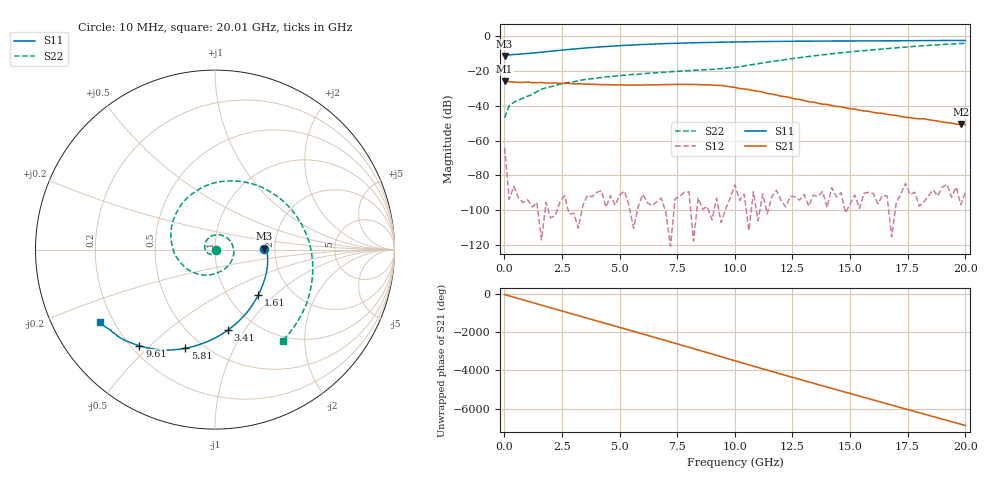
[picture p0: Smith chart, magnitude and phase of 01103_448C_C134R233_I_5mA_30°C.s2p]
!;Filter: kein Filter
!auto
!3/21/2019 9:27:39 AM
!3/21/2019 9:27:53 AM
!SP-Measurements Prober G4
!SP-Measurements Prober G4
!01103_448C
!134
!233
!12
!30
!-20
!0.00499992
!1.96
!0.64375220
!0.64375220
# Hz S  RI  R 50
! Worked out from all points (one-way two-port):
!   101 points, 10 MHz to 20.01 GHz, reference 50 ohm
!   highest |S21| = -25.75 dB at 10 MHz (marker M1); lowest = -50.7 dB at 19.81 GHz (marker M2)
!   lowest |S11| = -11.2 dB at 10 MHz (marker M3), VSWR 1.76, Z = 87.8 + j1.13 ohm
!   |S11| at or under -10 dB: start of sweep to 872.5 MHz
!   |S22| runs from -46.8 to -4.0 dB; largest |S21 - S12| = 0.052
!   S11 on the Smith chart (normalised r, x): 10 MHz: 1.76, +0.02; 1.61 GHz: 1.37, -0.79; 3.41 GHz: 0.74, -0.84; 5.81 GHz: 0.40, -0.66; 9.61 GHz: 0.23, -0.46; 20.01 GHz: 0.15, -0.28
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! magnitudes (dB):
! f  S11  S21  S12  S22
! 10 MHz  -11.2  -25.8  -64.2  -46.8
! 210 MHz  -10.7  -26.1  -93.7  -40.0
! 410 MHz  -10.5  -26.2  -86.3  -37.9
! 1.01 GHz  -9.9  -26.2  -94.0  -34.4
! 1.21 GHz  -9.6  -26.7  -98.1  -33.4
! 1.61 GHz  -9.1  -26.5  -117.1  -30.4
! 2.61 GHz  -7.8  -27.0  -91.6  -26.9
! 3.41 GHz  -6.8  -27.4  -97.1  -25.1
! 4.41 GHz  -5.9  -27.8  -98.3  -23.3
! 5.81 GHz  -4.8  -28.0  -97.9  -21.8
! 6.81 GHz  -4.3  -27.8  -93.0  -20.8
! 8.21 GHz  -3.7  -27.7  -117.8  -19.5
! 9.61 GHz  -3.3  -28.7  -99.2  -18.4
! 10.01 GHz  -3.2  -29.4  -85.5  -17.8
! 11.21 GHz  -3.0  -32.0  -90.7  -15.3
! 13.41 GHz  -2.8  -37.8  -91.3  -11.3
! 13.81 GHz  -2.7  -39.1  -89.2  -10.6
! 16.81 GHz  -2.6  -45.3  -115.3  -6.8
! 17.81 GHz  -2.5  -47.2  -89.6  -5.8
! 18.21 GHz  -2.5  -47.4  -95.0  -5.4
! 19.81 GHz  -2.4  -50.7  -96.8  -4.1
! 20.01 GHz  -2.4  -50.7  -89.5  -4.0
